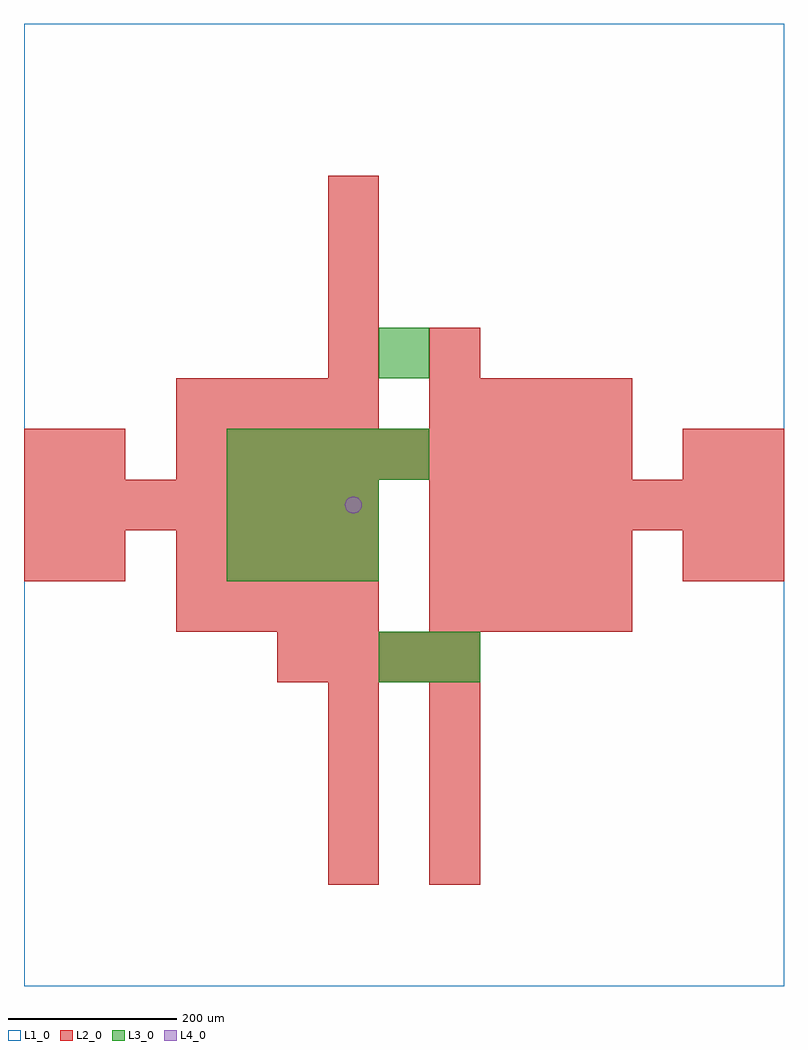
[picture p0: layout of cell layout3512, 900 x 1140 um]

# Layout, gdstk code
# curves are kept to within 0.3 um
import gdstk
lib = gdstk.Library(unit=1e-6, precision=1e-09)
def R(c, l, rs):  # rectangles x0, y0, x1, y1
    for r in rs: c.add(gdstk.rectangle(r[:2], r[2:], *l))
def A(c, l, x, y, w, h, nx, ny, dx, dy):  # array of equal rectangles
    R(c, l, [(x+i*dx, y+j*dy, x+i*dx+w, y+j*dy+h) for i in range(nx) for j in range(ny)])
def P(c, l, *ps):  # polygons
    for p in ps: c.add(gdstk.Polygon(p, *l))
L1_0 = (1, 0)
L2_0 = (2, 0)
L3_0 = (3, 0)
L4_0 = (4, 0)

layout3512 = lib.new_cell('layout3512')
R(layout3512, L1_0, [(0,0,900,1140)])
A(layout3512, L2_0, 360, 120, 60, 60, 1, 4, 0, 60)
A(layout3512, L2_0, 480, 120, 60, 60, 1, 4, 0, 60)
A(layout3512, L2_0, 300, 360, 60, 60, 4, 1, 60, 0)
A(layout3512, L2_0, 180, 420, 60, 60, 4, 2, 60, 60)
A(layout3512, L2_0, 480, 420, 60, 60, 4, 2, 60, 60)
A(layout3512, L2_0, 0, 540, 60, 60, 7, 1, 60, 0)
A(layout3512, L2_0, 480, 540, 60, 60, 7, 1, 60, 0)
A(layout3512, L2_0, 180, 600, 60, 60, 9, 1, 60, 0)
A(layout3512, L2_0, 180, 660, 60, 60, 4, 1, 60, 0)
A(layout3512, L2_0, 480, 660, 60, 60, 4, 1, 60, 0)
A(layout3512, L2_0, 360, 720, 60, 60, 1, 4, 0, 60)
R(layout3512, L2_0, [(0,480,60,540), (60,480,120,540), (780,480,840,540), (840,480,900,540), (0,600,60,660), (60,600,120,660), (780,600,840,660), (840,600,900,660), (480,720,540,780)])
A(layout3512, L3_0, 240, 480, 60, 60, 3, 2, 60, 60)
A(layout3512, L3_0, 240, 600, 60, 60, 4, 1, 60, 0)
R(layout3512, L3_0, [(420,360,480,420), (480,360,540,420), (420,720,480,780)])
P(layout3512, L4_0, [(400,570),(399.239,573.827),(397.071,577.071),(393.827,579.239),(390,580),(386.173,579.239),(382.929,577.071),(380.761,573.827),(380,570),(380.761,566.173),(382.929,562.929),(386.173,560.761),(390,560),(393.827,560.761),(397.071,562.929),(399.239,566.173)])

lib.write_gds('layout3512.gds')
